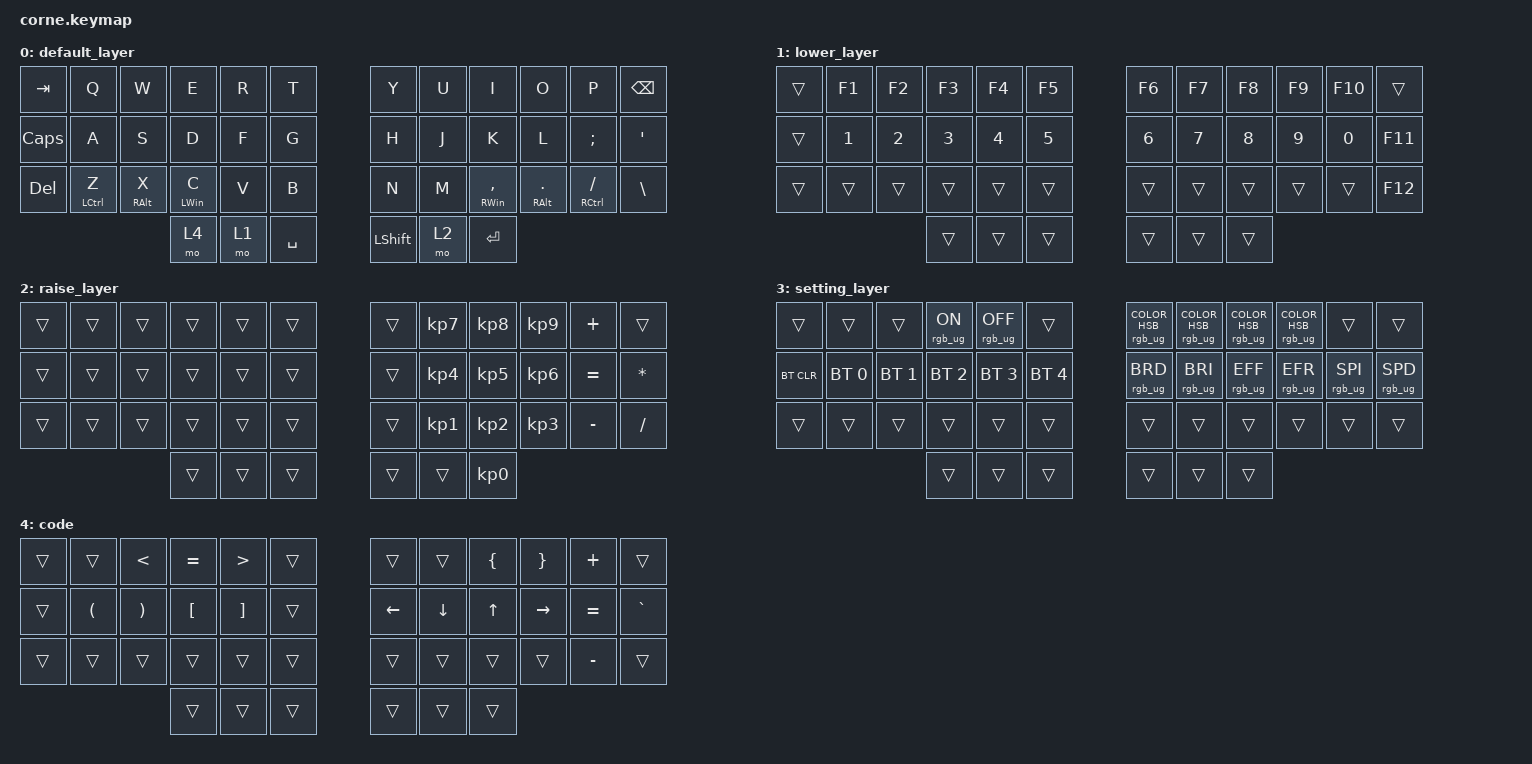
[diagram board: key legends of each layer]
/*
 * Copyright (c) 2020 The ZMK Contributors
 *
 * SPDX-License-Identifier: MIT
 */

#include <behaviors.dtsi>
#include <dt-bindings/zmk/bt.h>
#include <dt-bindings/zmk/keys.h>
#include <dt-bindings/zmk/rgb.h>

/ {
    keymap {
        compatible = "zmk,keymap";

        default_layer {
            // -----------------------------------------------------------------------------------------
            // |  TAB |  Q  |  W  |  E  |  R  |  T  |   |  Y  |  U   |  I  |  O  |  P  | BSPC |
            // | CTRL |  A  |  S  |  D  |  F  |  G  |   |  H  |  J   |  K  |  L  |  ;  |  '   |
            // | SHFT |  Z  |  X  |  C  |  V  |  B  |   |  N  |  M   |  ,  |  .  |  /  | ESC  |
            //                    | GUI | LWR | SPC |   | ENT | RSE  | ALT |

            bindings = <
&kp TAB     &kp Q        &kp W            &kp E           &kp R  &kp T        &kp Y           &kp U  &kp I                &kp O                 &kp P            &kp BSPC
&kp CAPS    &kp A        &kp S            &kp D           &kp F  &kp G        &kp H           &kp J  &kp K                &kp L                 &kp SEMI         &kp SQT
&kp DELETE  &mt LCTRL Z  &mt RIGHT_ALT X  &mt LEFT_WIN C  &kp V  &kp B        &kp N           &kp M  &mt RIGHT_WIN COMMA  &mt RIGHT_ALT PERIOD  &mt RCTRL SLASH  &kp BACKSLASH
                                          &mo 4           &mo 1  &kp SPACE    &kp LEFT_SHIFT  &mo 2  &kp ENTER
            >;
        };

        lower_layer {
            // -----------------------------------------------------------------------------------------
            // |  TAB |  1  |  2  |  3  |  4  |  5  |   |  6  |  7  |  8  |  9  |  0  | BSPC |
            // | BTCLR| BT1 | BT2 | BT3 | BT4 | BT5 |   | LFT | DWN |  UP | RGT |     |      |
            // | SHFT |     |     |     |     |     |   |     |     |     |     |     |      |
            //                    | GUI |     | SPC |   | ENT |     | ALT |

            bindings = <
&trans  &kp F1        &kp F2        &kp F3        &kp F4        &kp F5    &kp F6        &kp F7  &kp F8  &kp F9  &kp F10  &trans
&trans  &kp NUMBER_1  &kp NUMBER_2  &kp NUMBER_3  &kp NUMBER_4  &kp N5    &kp NUMBER_6  &kp N7  &kp N8  &kp N9  &kp N0   &kp F11
&trans  &trans        &trans        &trans        &trans        &trans    &trans        &trans  &trans  &trans  &trans   &kp F12
                                    &trans        &trans        &trans    &trans        &trans  &trans
            >;
        };

        raise_layer {
            // -----------------------------------------------------------------------------------------
            // |  TAB |  !  |  @  |  #  |  $  |  %  |   |  ^  |  &  |  *  |  (  |  )  | BSPC |
            // | CTRL |     |     |     |     |     |   |  -  |  =  |  [  |  ]  |  \  |  `   |
            // | SHFT |     |     |     |     |     |   |  _  |  +  |  {  |  }  | "|" |  ~   |
            //                    | GUI |     | SPC |   | ENT |     | ALT |

            bindings = <
&trans  &trans  &trans  &trans  &trans  &trans    &trans  &kp KP_NUMBER_7  &kp KP_NUMBER_8  &kp KP_NUMBER_9  &kp PLUS   &trans
&trans  &trans  &trans  &trans  &trans  &trans    &trans  &kp KP_NUMBER_4  &kp KP_NUMBER_5  &kp KP_NUMBER_6  &kp EQUAL  &kp ASTERISK
&trans  &trans  &trans  &trans  &trans  &trans    &trans  &kp KP_NUMBER_1  &kp KP_NUMBER_2  &kp KP_NUMBER_3  &kp MINUS  &kp SLASH
                        &trans  &trans  &trans    &trans  &trans           &kp KP_NUMBER_0
            >;
        };

        setting_layer {
            bindings = <
&trans      &trans        &trans        &rgb_ug RGB_ON  &rgb_ug RGB_OFF  &trans          &rgb_ug RGB_COLOR_HSB(0,14,94)  &rgb_ug RGB_COLOR_HSB(0,94,49)  &rgb_ug RGB_COLOR_HSB(154,100,39)  &rgb_ug RGB_COLOR_HSB(64,100,50)  &trans           &trans
&bt BT_CLR  &bt BT_SEL 0  &bt BT_SEL 1  &bt BT_SEL 2    &bt BT_SEL 3     &bt BT_SEL 4    &rgb_ug RGB_BRD                 &rgb_ug RGB_BRI                 &rgb_ug RGB_EFF                    &rgb_ug RGB_EFR                   &rgb_ug RGB_SPI  &rgb_ug RGB_SPD
&trans      &trans        &trans        &trans          &trans           &trans          &trans                          &trans                          &trans                             &trans                            &trans           &trans
                                        &trans          &trans           &trans          &trans                          &trans                          &trans
            >;
        };

        code {
            bindings = <
&trans  &trans                &kp LESS_THAN          &kp EQUAL         &kp GREATER_THAN   &trans    &trans          &trans          &kp LEFT_BRACE  &kp RIGHT_BRACE  &kp PLUS   &trans
&trans  &kp LEFT_PARENTHESIS  &kp RIGHT_PARENTHESIS  &kp LEFT_BRACKET  &kp RIGHT_BRACKET  &trans    &kp LEFT_ARROW  &kp DOWN_ARROW  &kp UP_ARROW    &kp RIGHT        &kp EQUAL  &kp GRAVE
&trans  &trans                &trans                 &trans            &trans             &trans    &trans          &trans          &trans          &trans           &kp MINUS  &trans
                                                     &trans            &trans             &trans    &trans          &trans          &trans
            >;
        };
    };

    conditional_layers {
        compatible = "zmk,conditional-layers";

        both {
            if-layers = <1 2>;
            then-layer = <3>;
        };
    };
};

&led_strip { chain-length = <27>; };
